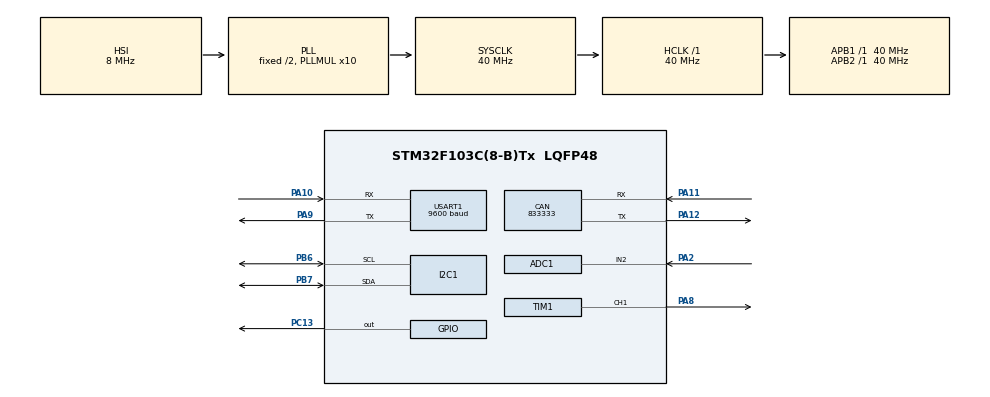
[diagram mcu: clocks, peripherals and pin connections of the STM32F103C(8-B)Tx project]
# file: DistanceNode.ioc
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ADC1.AWD1ITMode=ENABLE
ADC1.Channel-3\#ChannelRegularConversion=ADC_CHANNEL_2
ADC1.EnableAnalogWatchDog=true
ADC1.NbrOfConversionFlag=1
ADC1.Rank-3\#ChannelRegularConversion=1
ADC1.SamplingTime-3\#ChannelRegularConversion=ADC_SAMPLETIME_1CYCLE_5
ADC1.WatchdogChannel=ADC_CHANNEL_2
ADC1.master=1
CAN.CalculateBaudRate=833333
CAN.CalculateTimeBit=1200
CAN.CalculateTimeQuantum=400.0
Mcu.Family=STM32F1
Mcu.Name=STM32F103C(8-B)Tx
Mcu.Package=LQFP48
NVIC.ADC1_2_IRQn=true\:0\:0\:false\:false\:true\:true\:true\:true
NVIC.PriorityGroup=NVIC_PRIORITYGROUP_4
NVIC.USART1_IRQn=true\:0\:0\:false\:false\:true\:true\:true\:true
PA10.Mode=Asynchronous
PA10.Signal=USART1_RX
PA11.Mode=CAN_Activate
PA11.Signal=CAN_RX
PA12.Mode=CAN_Activate
PA12.Signal=CAN_TX
PA13.Mode=Serial_Wire
PA13.Signal=SYS_JTMS-SWDIO
PA14.Mode=Serial_Wire
PA14.Signal=SYS_JTCK-SWCLK
PA2.Signal=ADCx_IN2
PA8.Signal=S_TIM1_CH1
PA9.Mode=Asynchronous
PA9.Signal=USART1_TX
PB6.Mode=I2C
PB6.Signal=I2C1_SCL
PB7.Mode=I2C
PB7.Signal=I2C1_SDA
PC13-TAMPER-RTC.Signal=GPIO_Output
PD0-OSC_IN.Mode=HSE-External-Oscillator
PD0-OSC_IN.Signal=RCC_OSC_IN
PD1-OSC_OUT.Mode=HSE-External-Oscillator
PD1-OSC_OUT.Signal=RCC_OSC_OUT
ProjectManager.HeapSize=0x200
ProjectManager.StackSize=0x400
ProjectManager.TargetToolchain=STM32CubeIDE
RCC.ADCPresc=RCC_ADCPCLK2_DIV4
RCC.AHBFreq_Value=40000000
RCC.APB1Freq_Value=40000000
RCC.APB1TimFreq_Value=40000000
RCC.APB2Freq_Value=40000000
RCC.APB2TimFreq_Value=40000000
RCC.HCLKFreq_Value=40000000
RCC.HSEDivPLL=RCC_HSE_PREDIV_DIV2
RCC.PLLMUL=RCC_PLL_MUL10
RCC.SYSCLKFreq_VALUE=40000000
RCC.SYSCLKSource=RCC_SYSCLKSOURCE_PLLCLK
RCC.USBFreq_Value=40000000
SH.ADCx_IN2.0=ADC1_IN2,IN2
SH.S_TIM1_CH1.0=TIM1_CH1,PWM Generation1 CH1
TIM1.Channel-PWM\ Generation1\ CH1=TIM_CHANNEL_1
USART1.BaudRate=9600
USART1.VirtualMode=VM_ASYNC
board=custom

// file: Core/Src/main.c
/* USER CODE BEGIN Header */
/**
  ******************************************************************************
  * @file           : main.c
  * @brief          : Main program body
  ******************************************************************************
  * @attention
  *
  * Copyright (c) 2023 STMicroelectronics.
  * All rights reserved.
  *
  * This software is licensed under terms that can be found in the LICENSE file
  * in the root directory of this software component.
  * If no LICENSE file comes with this software, it is provided AS-IS.
  *
  ******************************************************************************
  */
/* USER CODE END Header */
#include "main.h"

/* USER CODE BEGIN Includes */
#include "vl53l0x_api.h"
#include "stdio.h"
#include "string.h"
/* USER CODE END Includes */

/* USER CODE BEGIN PTD */
uint8_t Rx_message[5] ;
uint8_t Tx_message[5] = "chao";
uint16_t Xkc_kd200_v12_data = 0 ;

VL53L0X_RangingMeasurementData_t RangingData;
VL53L0X_Dev_t  vl53l0x_c; // center module
VL53L0X_DEV    Dev = &vl53l0x_c; // pointer
/* USER CODE END PTD */

ADC_HandleTypeDef hadc1;

CAN_HandleTypeDef hcan;

I2C_HandleTypeDef hi2c1;

TIM_HandleTypeDef htim1;

UART_HandleTypeDef huart1;

void SystemClock_Config(void);
static void MX_GPIO_Init(void);
static void MX_CAN_Init(void);
static void MX_I2C1_Init(void);
static void MX_USART1_UART_Init(void);
static void MX_TIM1_Init(void);
static void MX_ADC1_Init(void);
/* USER CODE BEGIN PFP */
#ifdef __GNUC__
#define PUTCHAR_PROTOTYPE int __io_putchar(int ch)
#else
#define PUTCHAR_PROTOTYPE int fputc(int ch, FILE *f)
#endif

PUTCHAR_PROTOTYPE
{
  HAL_UART_Transmit(&huart1, (uint8_t *)&ch, 1, HAL_MAX_DELAY);
  return ch;
}

/* USER CODE END PFP */

/* USER CODE BEGIN 0 */

void setup_vl53l0x(){
printf("VL53L0X setup\n\r");

  uint32_t refSpadCount;
  uint8_t isApertureSpads;

//temperature calibration references
  uint8_t VhvSettings;
  uint8_t PhaseCal;

//instance
  Dev->I2cHandle = &hi2c1;
  Dev->I2cDevAddr = 0x52;

  HAL_GPIO_WritePin(GPIOC, GPIO_PIN_6, GPIO_PIN_RESET); // Disable XSHUT
  HAL_Delay(20);
  HAL_GPIO_WritePin(GPIOC, GPIO_PIN_6, GPIO_PIN_SET); // Enable XSHUT
  HAL_Delay(20);

  VL53L0X_WaitDeviceBooted( Dev );

//Initialize
  VL53L0X_DataInit( Dev );
  VL53L0X_StaticInit( Dev );
//Calibration temperature + SPAD
  VL53L0X_PerformRefCalibration(Dev, &VhvSettings, &PhaseCal);
  VL53L0X_PerformRefSpadManagement(Dev, &refSpadCount, &isApertureSpads);
//Mode
  VL53L0X_SetDeviceMode(Dev, VL53L0X_DEVICEMODE_SINGLE_RANGING);

  // Enable/Disable Sigma and Signal check
  VL53L0X_SetLimitCheckEnable(Dev, VL53L0X_CHECKENABLE_SIGMA_FINAL_RANGE, 1);
  VL53L0X_SetLimitCheckEnable(Dev, VL53L0X_CHECKENABLE_SIGNAL_RATE_FINAL_RANGE, 1);
  VL53L0X_SetLimitCheckValue(Dev, VL53L0X_CHECKENABLE_SIGNAL_RATE_FINAL_RANGE, (FixPoint1616_t)(0.1*65536));
  VL53L0X_SetLimitCheckValue(Dev, VL53L0X_CHECKENABLE_SIGMA_FINAL_RANGE, (FixPoint1616_t)(60*65536));
  VL53L0X_SetMeasurementTimingBudgetMicroSeconds(Dev, 33000);
  VL53L0X_SetVcselPulsePeriod(Dev, VL53L0X_VCSEL_PERIOD_PRE_RANGE, 18);
  VL53L0X_SetVcselPulsePeriod(Dev, VL53L0X_VCSEL_PERIOD_FINAL_RANGE, 14);
}

//void HAL_TIM_PeriodElapsedCallback(TIM_HandleTypeDef *htim)
//{
//
//}

void HAL_ADC_ConvCpltCallback(ADC_HandleTypeDef* hadc)
{
	uint32_t distanceValue = HAL_ADC_GetValue(&hadc1);
	if ( hadc->Instance == ADC1)
	{
		printf ("Distance : %d /n", distanceValue );
	}
}

void HAL_UART_RxCpltCallback(UART_HandleTypeDef *huart)
{

	if (huart->Instance == USART1)
	{
		printf ("distance : %s\n", Rx_message);
	}

//	if (huart->Instance == USART2)
//	{
//		printf("message receive : %s\n", Rx_message);
//			if (strcmp(Rx_message,"open") == 0)
//			{
//				printf("Turn On Vl53l0xv2\n");
//				setup_vl53l0x();
//				//HAL_GPIO_WritePin(GPIOA, XShut_Pin, GPIO_PIN_SET);
//
//			}
//			else if (strcmp(Rx_message,"dong") == 0)
//			{
//				printf("Turn Off Vl53l0xv2\n");
//				//HAL_GPIO_WritePin(GPIOA, XShut_Pin, GPIO_PIN_RESET);
//
//			}
//	}
}
/* USER CODE END 0 */

int main(void)
{

  /* MCU Configuration--------------------------------------------------------*/

  /* Reset of all peripherals, Initializes the Flash interface and the Systick. */
  HAL_Init();

  /* Configure the system clock */
  SystemClock_Config();

  /* Initialize all configured peripherals */
  MX_GPIO_Init();
  MX_CAN_Init();
  MX_I2C1_Init();
  MX_USART1_UART_Init();
  MX_TIM1_Init();
  MX_ADC1_Init();
  /* USER CODE BEGIN 2 */
  setup_vl53l0x();

  /* USER CODE END 2 */

  /* Infinite loop */
  /* USER CODE BEGIN WHILE */
  while (1)
  {
//	  HAL_ADC_Start_IT(&hadc1);

	  HAL_UART_Receive(&huart1, Rx_message, 10,100);
//	  VL53L0X_PerformSingleRangingMeasurement(Dev, &RangingData);
//	  if(RangingData.RangeStatus == 0)
//	  {
//		  HAL_GPIO_TogglePin(GPIOA, GPIO_PIN_5);
//		  HAL_Delay(100);
//		  printf("Measure distance: %i\n\r", RangingData.RangeMilliMeter);
//	  }
	  printf("Rcv %s \r\n", Rx_message);
	  HAL_Delay(100);

    /* USER CODE END WHILE */

  }
}

void SystemClock_Config(void)
{
  RCC_OscInitTypeDef RCC_OscInitStruct = {0};
  RCC_ClkInitTypeDef RCC_ClkInitStruct = {0};
  RCC_PeriphCLKInitTypeDef PeriphClkInit = {0};

  /** Initializes the RCC Oscillators according to the specified parameters
  * in the RCC_OscInitTypeDef structure.
  */
  RCC_OscInitStruct.OscillatorType = RCC_OSCILLATORTYPE_HSI;
  RCC_OscInitStruct.HSIState = RCC_HSI_ON;
  RCC_OscInitStruct.HSICalibrationValue = RCC_HSICALIBRATION_DEFAULT;
  RCC_OscInitStruct.PLL.PLLState = RCC_PLL_ON;
  RCC_OscInitStruct.PLL.PLLSource = RCC_PLLSOURCE_HSI_DIV2;
  RCC_OscInitStruct.PLL.PLLMUL = RCC_PLL_MUL10;
  if (HAL_RCC_OscConfig(&RCC_OscInitStruct) != HAL_OK)
  {
    Error_Handler();
  }

  /** Initializes the CPU, AHB and APB buses clocks
  */
  RCC_ClkInitStruct.ClockType = RCC_CLOCKTYPE_HCLK|RCC_CLOCKTYPE_SYSCLK
                              |RCC_CLOCKTYPE_PCLK1|RCC_CLOCKTYPE_PCLK2;
  RCC_ClkInitStruct.SYSCLKSource = RCC_SYSCLKSOURCE_PLLCLK;
  RCC_ClkInitStruct.AHBCLKDivider = RCC_SYSCLK_DIV1;
  RCC_ClkInitStruct.APB1CLKDivider = RCC_HCLK_DIV1;
  RCC_ClkInitStruct.APB2CLKDivider = RCC_HCLK_DIV1;

  if (HAL_RCC_ClockConfig(&RCC_ClkInitStruct, FLASH_LATENCY_1) != HAL_OK)
  {
    Error_Handler();
  }
  PeriphClkInit.PeriphClockSelection = RCC_PERIPHCLK_ADC;
  PeriphClkInit.AdcClockSelection = RCC_ADCPCLK2_DIV4;
  if (HAL_RCCEx_PeriphCLKConfig(&PeriphClkInit) != HAL_OK)
  {
    Error_Handler();
  }
}

static void MX_ADC1_Init(void)
{

  ADC_AnalogWDGConfTypeDef AnalogWDGConfig = {0};
  ADC_ChannelConfTypeDef sConfig = {0};

  /** Common config
  */
  hadc1.Instance = ADC1;
  hadc1.Init.ScanConvMode = ADC_SCAN_DISABLE;
  hadc1.Init.ContinuousConvMode = DISABLE;
  hadc1.Init.DiscontinuousConvMode = DISABLE;
  hadc1.Init.ExternalTrigConv = ADC_SOFTWARE_START;
  hadc1.Init.DataAlign = ADC_DATAALIGN_RIGHT;
  hadc1.Init.NbrOfConversion = 1;
  if (HAL_ADC_Init(&hadc1) != HAL_OK)
  {
    Error_Handler();
  }

  /** Configure Analog WatchDog 1
  */
  AnalogWDGConfig.WatchdogMode = ADC_ANALOGWATCHDOG_SINGLE_REG;
  AnalogWDGConfig.HighThreshold = 0;
  AnalogWDGConfig.LowThreshold = 0;
  AnalogWDGConfig.Channel = ADC_CHANNEL_2;
  AnalogWDGConfig.ITMode = ENABLE;
  if (HAL_ADC_AnalogWDGConfig(&hadc1, &AnalogWDGConfig) != HAL_OK)
  {
    Error_Handler();
  }

  /** Configure Regular Channel
  */
  sConfig.Channel = ADC_CHANNEL_2;
  sConfig.Rank = ADC_REGULAR_RANK_1;
  sConfig.SamplingTime = ADC_SAMPLETIME_1CYCLE_5;
  if (HAL_ADC_ConfigChannel(&hadc1, &sConfig) != HAL_OK)
  {
    Error_Handler();
  }

}

static void MX_CAN_Init(void)
{

  hcan.Instance = CAN1;
  hcan.Init.Prescaler = 16;
  hcan.Init.Mode = CAN_MODE_NORMAL;
  hcan.Init.SyncJumpWidth = CAN_SJW_1TQ;
  hcan.Init.TimeSeg1 = CAN_BS1_1TQ;
  hcan.Init.TimeSeg2 = CAN_BS2_1TQ;
  hcan.Init.TimeTriggeredMode = DISABLE;
  hcan.Init.AutoBusOff = DISABLE;
  hcan.Init.AutoWakeUp = DISABLE;
  hcan.Init.AutoRetransmission = DISABLE;
  hcan.Init.ReceiveFifoLocked = DISABLE;
  hcan.Init.TransmitFifoPriority = DISABLE;
  if (HAL_CAN_Init(&hcan) != HAL_OK)
  {
    Error_Handler();
  }

}

static void MX_I2C1_Init(void)
{

  hi2c1.Instance = I2C1;
  hi2c1.Init.ClockSpeed = 100000;
  hi2c1.Init.DutyCycle = I2C_DUTYCYCLE_2;
  hi2c1.Init.OwnAddress1 = 0;
  hi2c1.Init.AddressingMode = I2C_ADDRESSINGMODE_7BIT;
  hi2c1.Init.DualAddressMode = I2C_DUALADDRESS_DISABLE;
  hi2c1.Init.OwnAddress2 = 0;
  hi2c1.Init.GeneralCallMode = I2C_GENERALCALL_DISABLE;
  hi2c1.Init.NoStretchMode = I2C_NOSTRETCH_DISABLE;
  if (HAL_I2C_Init(&hi2c1) != HAL_OK)
  {
    Error_Handler();
  }

}

static void MX_TIM1_Init(void)
{

  TIM_MasterConfigTypeDef sMasterConfig = {0};
  TIM_OC_InitTypeDef sConfigOC = {0};
  TIM_BreakDeadTimeConfigTypeDef sBreakDeadTimeConfig = {0};

  htim1.Instance = TIM1;
  htim1.Init.Prescaler = 0;
  htim1.Init.CounterMode = TIM_COUNTERMODE_UP;
  htim1.Init.Period = 65535;
  htim1.Init.ClockDivision = TIM_CLOCKDIVISION_DIV1;
  htim1.Init.RepetitionCounter = 0;
  htim1.Init.AutoReloadPreload = TIM_AUTORELOAD_PRELOAD_DISABLE;
  if (HAL_TIM_PWM_Init(&htim1) != HAL_OK)
  {
    Error_Handler();
  }
  sMasterConfig.MasterOutputTrigger = TIM_TRGO_RESET;
  sMasterConfig.MasterSlaveMode = TIM_MASTERSLAVEMODE_DISABLE;
  if (HAL_TIMEx_MasterConfigSynchronization(&htim1, &sMasterConfig) != HAL_OK)
  {
    Error_Handler();
  }
  sConfigOC.OCMode = TIM_OCMODE_PWM1;
  sConfigOC.Pulse = 0;
  sConfigOC.OCPolarity = TIM_OCPOLARITY_HIGH;
  sConfigOC.OCNPolarity = TIM_OCNPOLARITY_HIGH;
  sConfigOC.OCFastMode = TIM_OCFAST_DISABLE;
  sConfigOC.OCIdleState = TIM_OCIDLESTATE_RESET;
  sConfigOC.OCNIdleState = TIM_OCNIDLESTATE_RESET;
  if (HAL_TIM_PWM_ConfigChannel(&htim1, &sConfigOC, TIM_CHANNEL_1) != HAL_OK)
  {
    Error_Handler();
  }
  sBreakDeadTimeConfig.OffStateRunMode = TIM_OSSR_DISABLE;
  sBreakDeadTimeConfig.OffStateIDLEMode = TIM_OSSI_DISABLE;
  sBreakDeadTimeConfig.LockLevel = TIM_LOCKLEVEL_OFF;
  sBreakDeadTimeConfig.DeadTime = 0;
  sBreakDeadTimeConfig.BreakState = TIM_BREAK_DISABLE;
  sBreakDeadTimeConfig.BreakPolarity = TIM_BREAKPOLARITY_HIGH;
  sBreakDeadTimeConfig.AutomaticOutput = TIM_AUTOMATICOUTPUT_DISABLE;
  if (HAL_TIMEx_ConfigBreakDeadTime(&htim1, &sBreakDeadTimeConfig) != HAL_OK)
  {
    Error_Handler();
  }
  HAL_TIM_MspPostInit(&htim1);

}

static void MX_USART1_UART_Init(void)
{

  huart1.Instance = USART1;
  huart1.Init.BaudRate = 115200;
  huart1.Init.WordLength = UART_WORDLENGTH_8B;
  huart1.Init.StopBits = UART_STOPBITS_1;
  huart1.Init.Parity = UART_PARITY_NONE;
  huart1.Init.Mode = UART_MODE_TX_RX;
  huart1.Init.HwFlowCtl = UART_HWCONTROL_NONE;
  huart1.Init.OverSampling = UART_OVERSAMPLING_16;
  if (HAL_UART_Init(&huart1) != HAL_OK)
  {
    Error_Handler();
  }

}

static void MX_GPIO_Init(void)
{
  GPIO_InitTypeDef GPIO_InitStruct = {0};

  /* GPIO Ports Clock Enable */
  __HAL_RCC_GPIOC_CLK_ENABLE();
  __HAL_RCC_GPIOD_CLK_ENABLE();
  __HAL_RCC_GPIOA_CLK_ENABLE();
  __HAL_RCC_GPIOB_CLK_ENABLE();

  /*Configure GPIO pin Output Level */
  HAL_GPIO_WritePin(GPIOC, GPIO_PIN_13, GPIO_PIN_RESET);

  /*Configure GPIO pin : PC13 */
  GPIO_InitStruct.Pin = GPIO_PIN_13;
  GPIO_InitStruct.Mode = GPIO_MODE_OUTPUT_PP;
  GPIO_InitStruct.Pull = GPIO_NOPULL;
  GPIO_InitStruct.Speed = GPIO_SPEED_FREQ_LOW;
  HAL_GPIO_Init(GPIOC, &GPIO_InitStruct);

}

void Error_Handler(void)
{
  __disable_irq();
  while (1)
  {
  }
}
